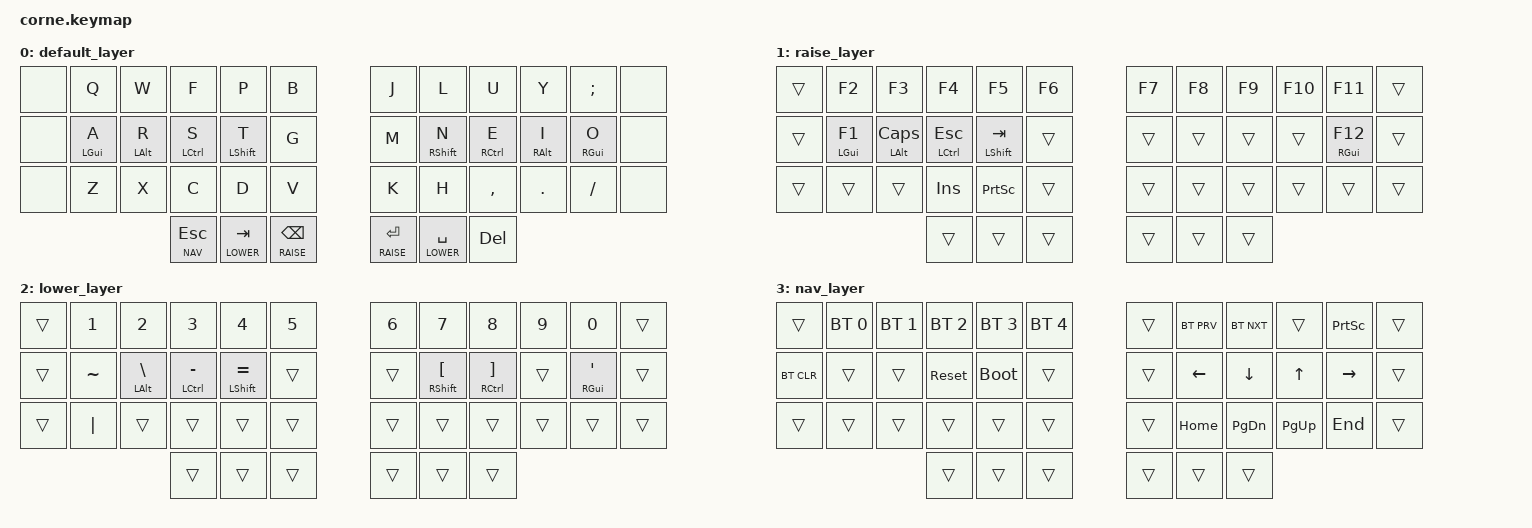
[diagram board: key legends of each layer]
/*
 * Copyright (c) 2020 The ZMK Contributors
 *
 * SPDX-License-Identifier: MIT
 */

#include <behaviors.dtsi>
#include <dt-bindings/zmk/keys.h>
#include <dt-bindings/zmk/bt.h>

#define RAISE  1
#define LOWER  2
#define NAV    3
#define LABSLH &hml LALT BSLH
#define LACAPS &hml LALT CAPSLOCK
#define LCESC &hml LCTRL ESC
#define LCMINS &hml LCTRL MINUS
#define LOWSPC &lt LOWER SPACE
#define LSEQUAL &hml LSHFT EQUAL
#define LSTAB &hml LSHFT TAB
#define LWTAB &lt LOWER TAB
#define RCRBRC &hmr RCTRL RBKT
#define RGF12 &hmr RGUI F12
#define RGSQT &hmr RGUI SQT
#define RSBSPC &lt RAISE BSPC
#define RSLBRC &hmr RSHFT LBKT
#define RSRET &lt RAISE RET

&lt {
    quick-tap-ms = <200>;
    flavor = "hold-preferred";
};

/ {
    behaviors {
        hml: home_row_mods_left {
            compatible = "zmk,behavior-hold-tap";
            #binding-cells = <2>;
            flavor = "balanced";
            tapping-term-ms = <200>;
            quick-tap-ms = <175>;
            require-prior-idle-ms = <50>;
            bindings = <&kp>, <&kp>;
            // Keys on right half trigger left-side mods
            hold-trigger-key-positions = <6 7 8 9 10 11 18 19 20 21 22 23 30 31 32 33 34 35>;
            hold-trigger-on-release;
        };
        hmr: home_row_mods_right {
            compatible = "zmk,behavior-hold-tap";
            #binding-cells = <2>;
            flavor = "balanced";
            tapping-term-ms = <200>;
            quick-tap-ms = <175>;
            require-prior-idle-ms = <50>;
            bindings = <&kp>, <&kp>;
            // Keys on left half trigger right-side mods
            hold-trigger-key-positions = <0 1 2 3 4 5 12 13 14 15 16 17 24 25 26 27 28 29>;
            hold-trigger-on-release;
        };
    };

    keymap {
        compatible = "zmk,keymap";

        default_layer {
            bindings = <
// ╭────────────┬────────────┬────────────┬────────────┬────────────┬────────────╮   ╭────────────┬────────────┬────────────┬────────────┬────────────┬────────────╮
    &none        &kp Q        &kp W        &kp F        &kp P        &kp B            &kp J        &kp L        &kp U        &kp Y        &kp SEMI     &none        
// ├────────────┼────────────┼────────────┼────────────┼────────────┼────────────┤   ├────────────┼────────────┼────────────┼────────────┼────────────┼────────────┤
    &none        &hml LGUI A  &hml LALT R  &hml LCTRL S &hml LSHFT T &kp G            &kp M        &hmr RSHFT N &hmr RCTRL E &hmr RALT I  &hmr RGUI O  &none        
// ├────────────┼────────────┼────────────┼────────────┼────────────┼────────────┤   ├────────────┼────────────┼────────────┼────────────┼────────────┼────────────┤
    &none        &kp Z        &kp X        &kp C        &kp D        &kp V            &kp K        &kp H        &kp COMMA    &kp DOT      &kp FSLH     &none        
// ╰────────────┴────────────┴────────────┼────────────┼────────────┼────────────┤   ├────────────┼────────────┼────────────┼────────────┴────────────┴────────────╯
                                           &lt NAV ESC  LWTAB        RSBSPC           RSRET        LOWSPC       &kp DEL      
//                                        ╰────────────┴────────────┴────────────╯   ╰────────────┴────────────┴────────────╯
            >;
        };

        raise_layer {
            bindings = <
// ╭────────────┬────────────┬────────────┬────────────┬────────────┬────────────╮   ╭────────────┬────────────┬────────────┬────────────┬────────────┬────────────╮
    &trans       &kp F2       &kp F3       &kp F4       &kp F5       &kp F6           &kp F7       &kp F8       &kp F9       &kp F10      &kp F11      &trans       
// ├────────────┼────────────┼────────────┼────────────┼────────────┼────────────┤   ├────────────┼────────────┼────────────┼────────────┼────────────┼────────────┤
    &trans       &hml LGUI F1 LACAPS       LCESC        LSTAB        &trans           &trans       &trans       &trans       &trans       RGF12        &trans       
// ├────────────┼────────────┼────────────┼────────────┼────────────┼────────────┤   ├────────────┼────────────┼────────────┼────────────┼────────────┼────────────┤
    &trans       &trans       &trans       &kp INS      &kp PSCRN    &trans           &trans       &trans       &trans       &trans       &trans       &trans       
// ╰────────────┴────────────┴────────────┼────────────┼────────────┼────────────┤   ├────────────┼────────────┼────────────┼────────────┴────────────┴────────────╯
                                           &trans       &trans       &trans           &trans       &trans       &trans       
//                                        ╰────────────┴────────────┴────────────╯   ╰────────────┴────────────┴────────────╯
            >;
        };

        lower_layer {
            bindings = <
// ╭────────────┬────────────┬────────────┬────────────┬────────────┬────────────╮   ╭────────────┬────────────┬────────────┬────────────┬────────────┬────────────╮
    &trans       &kp N1       &kp N2       &kp N3       &kp N4       &kp N5           &kp N6       &kp N7       &kp N8       &kp N9       &kp N0       &trans       
// ├────────────┼────────────┼────────────┼────────────┼────────────┼────────────┤   ├────────────┼────────────┼────────────┼────────────┼────────────┼────────────┤
    &trans       &kp TILDE    LABSLH       LCMINS       LSEQUAL      &trans           &trans       RSLBRC       RCRBRC       &trans       RGSQT        &trans       
// ├────────────┼────────────┼────────────┼────────────┼────────────┼────────────┤   ├────────────┼────────────┼────────────┼────────────┼────────────┼────────────┤
    &trans       &kp PIPE     &trans       &trans       &trans       &trans           &trans       &trans       &trans       &trans       &trans       &trans       
// ╰────────────┴────────────┴────────────┼────────────┼────────────┼────────────┤   ├────────────┼────────────┼────────────┼────────────┴────────────┴────────────╯
                                           &trans       &trans       &trans           &trans       &trans       &trans       
//                                        ╰────────────┴────────────┴────────────╯   ╰────────────┴────────────┴────────────╯
            >;
        };

        nav_layer {
            bindings = <
// ╭────────────┬────────────┬────────────┬────────────┬────────────┬────────────╮   ╭────────────┬────────────┬────────────┬────────────┬────────────┬────────────╮
    &trans       &bt BT_SEL 0 &bt BT_SEL 1 &bt BT_SEL 2 &bt BT_SEL 3 &bt BT_SEL 4     &trans       &bt BT_PRV   &bt BT_NXT   &trans       &kp PSCRN    &trans       
// ├────────────┼────────────┼────────────┼────────────┼────────────┼────────────┤   ├────────────┼────────────┼────────────┼────────────┼────────────┼────────────┤
    &bt BT_CLR   &trans       &trans       &sys_reset   &bootloader  &trans           &trans       &kp LEFT     &kp DOWN     &kp UP       &kp RIGHT    &trans       
// ├────────────┼────────────┼────────────┼────────────┼────────────┼────────────┤   ├────────────┼────────────┼────────────┼────────────┼────────────┼────────────┤
    &trans       &trans       &trans       &trans       &trans       &trans           &trans       &kp HOME     &kp PG_DN    &kp PG_UP    &kp END      &trans       
// ╰────────────┴────────────┴────────────┼────────────┼────────────┼────────────┤   ├────────────┼────────────┼────────────┼────────────┴────────────┴────────────╯
                                           &trans       &trans       &trans           &trans       &trans       &trans       
//                                        ╰────────────┴────────────┴────────────╯   ╰────────────┴────────────┴────────────╯
            >;
        };
    };
};
